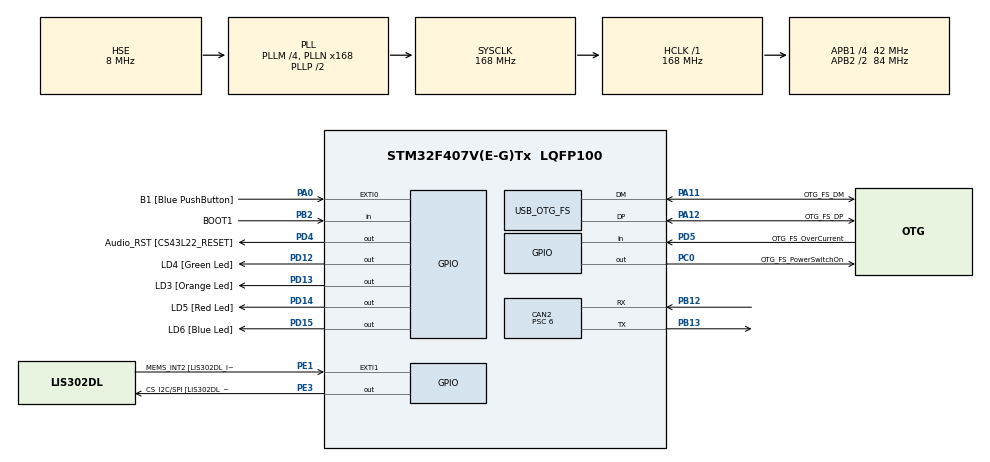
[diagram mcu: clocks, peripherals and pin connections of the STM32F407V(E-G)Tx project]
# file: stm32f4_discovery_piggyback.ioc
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CAN2.BS1=CAN_BS1_4TQ
CAN2.BS2=CAN_BS2_2TQ
CAN2.CalculateBaudRate=1000000
CAN2.CalculateTimeBit=999.99
CAN2.CalculateTimeQuantum=142.85714285714286
CAN2.NART=ENABLE
CAN2.Prescaler=6
FREERTOS.Tasks01=defaultTask,24,128,StartDefaultTask,Default,NULL,Dynamic,NULL,NULL
FREERTOS.configUSE_NEWLIB_REENTRANT=1
Mcu.Family=STM32F4
Mcu.Name=STM32F407V(E-G)Tx
Mcu.Package=LQFP100
NVIC.CAN2_RX0_IRQn=true\:5\:0\:false\:false\:true\:true\:true\:true
NVIC.CAN2_RX1_IRQn=true\:5\:0\:false\:false\:true\:true\:true\:true
NVIC.CAN2_SCE_IRQn=true\:5\:0\:false\:false\:true\:true\:true\:true
NVIC.CAN2_TX_IRQn=true\:5\:0\:false\:false\:true\:true\:true\:true
NVIC.OTG_FS_IRQn=true\:5\:0\:false\:false\:true\:true\:false\:true
NVIC.PriorityGroup=NVIC_PRIORITYGROUP_4
NVIC.TIM1_UP_TIM10_IRQn=true\:15\:0\:false\:false\:true\:false\:false\:true
NVIC.TimeBase=TIM1_UP_TIM10_IRQn
NVIC.TimeBaseIP=TIM1
PA0-WKUP.GPIO_Label=B1 [Blue PushButton]
PA0-WKUP.Signal=GPXTI0
PA10.GPIO_Label=OTG_FS_ID
PA10.GPIO_Mode=GPIO_MODE_AF_PP
PA10.GPIO_PuPd=GPIO_NOPULL
PA10.GPIO_Speed=GPIO_SPEED_FREQ_LOW
PA10.Signal=USB_OTG_FS_ID
PA11.GPIO_Label=OTG_FS_DM
PA11.GPIO_Mode=GPIO_MODE_AF_PP
PA11.GPIO_PuPd=GPIO_NOPULL
PA11.GPIO_Speed=GPIO_SPEED_FREQ_LOW
PA11.Mode=Device_Only
PA11.Signal=USB_OTG_FS_DM
PA12.GPIO_Label=OTG_FS_DP
PA12.GPIO_Mode=GPIO_MODE_AF_PP
PA12.GPIO_PuPd=GPIO_NOPULL
PA12.GPIO_Speed=GPIO_SPEED_FREQ_LOW
PA12.Mode=Device_Only
PA12.Signal=USB_OTG_FS_DP
PA13.GPIO_Label=SWDIO
PA13.Mode=Serial_Wire
PA13.Signal=SYS_JTMS-SWDIO
PA14.GPIO_Label=SWCLK
PA14.Mode=Serial_Wire
PA14.Signal=SYS_JTCK-SWCLK
PA4.GPIO_Label=I2S3_WS [CS43L22_LRCK]
PA4.GPIO_Mode=GPIO_MODE_AF_PP
PA4.GPIO_PuPd=GPIO_NOPULL
PA4.GPIO_Speed=GPIO_SPEED_FREQ_LOW
PA4.Signal=I2S3_WS
PA5.GPIO_Label=SPI1_SCK [LIS302DL_SCL/SPC]
PA5.GPIO_Mode=GPIO_MODE_AF_PP
PA5.GPIO_PuPd=GPIO_NOPULL
PA5.GPIO_Speed=GPIO_SPEED_FREQ_LOW
PA5.Signal=SPI1_SCK
PA6.GPIO_Label=SPI1_MISO [LIS302DL_SDO]
PA6.GPIO_Mode=GPIO_MODE_AF_PP
PA6.GPIO_PuPd=GPIO_NOPULL
PA6.GPIO_Speed=GPIO_SPEED_FREQ_LOW
PA6.Signal=SPI1_MISO
PA7.GPIO_Label=SPI1_MOSI [LIS302DL_SDA/SDI/SDO]
PA7.GPIO_Mode=GPIO_MODE_AF_PP
PA7.GPIO_PuPd=GPIO_NOPULL
PA7.GPIO_Speed=GPIO_SPEED_FREQ_LOW
PA7.Signal=SPI1_MOSI
PA9.GPIO_Label=VBUS_FS
PA9.GPIO_Mode=GPIO_MODE_INPUT
PA9.GPIO_PuPd=GPIO_NOPULL
PA9.Signal=USB_OTG_FS_VBUS
PB10.GPIO_Label=CLK_IN [MP45DT02_CLK]
PB10.GPIO_Mode=GPIO_MODE_AF_PP
PB10.GPIO_PuPd=GPIO_NOPULL
PB10.GPIO_Speed=GPIO_SPEED_FREQ_LOW
PB10.Signal=I2S2_CK
PB12.Mode=CAN_Activate
PB12.Signal=CAN2_RX
PB13.Mode=CAN_Activate
PB13.Signal=CAN2_TX
PB2.GPIO_Label=BOOT1
PB2.GPIO_Mode=GPIO_MODE_INPUT
PB2.GPIO_PuPd=GPIO_NOPULL
PB2.Signal=GPIO_Input
PB3.GPIO_Label=SWO
PB3.Signal=SYS_JTDO-SWO
PB6.GPIO_Label=Audio_SCL [CS43L22_SCL]
PB6.GPIO_Mode=GPIO_MODE_AF_OD
PB6.GPIO_PuPd=GPIO_NOPULL
PB6.GPIO_Speed=GPIO_SPEED_FREQ_LOW
PB6.Signal=I2C1_SCL
PB9.GPIO_Label=Audio_SDA [CS43L22_SDA]
PB9.GPIO_Mode=GPIO_MODE_AF_OD
PB9.GPIO_PuPd=GPIO_NOPULL
PB9.GPIO_Speed=GPIO_SPEED_FREQ_LOW
PB9.Signal=I2C1_SDA
PC0.GPIO_Label=OTG_FS_PowerSwitchOn
PC0.GPIO_PuPd=GPIO_NOPULL
PC0.GPIO_Speed=GPIO_SPEED_FREQ_LOW
PC0.PinState=GPIO_PIN_SET
PC0.Signal=GPIO_Output
PC10.GPIO_Label=I2S3_SCK [CS43L22_SCLK]
PC10.GPIO_Mode=GPIO_MODE_AF_PP
PC10.GPIO_PuPd=GPIO_NOPULL
PC10.GPIO_Speed=GPIO_SPEED_FREQ_LOW
PC10.Signal=I2S3_CK
PC12.GPIO_Label=I2S3_SD [CS43L22_SDIN]
PC12.GPIO_Mode=GPIO_MODE_AF_PP
PC12.GPIO_PuPd=GPIO_NOPULL
PC12.GPIO_Speed=GPIO_SPEED_FREQ_LOW
PC12.Signal=I2S3_SD
PC14-OSC32_IN.GPIO_Label=PC14-OSC32_IN
PC14-OSC32_IN.Signal=RCC_OSC32_IN
PC15-OSC32_OUT.GPIO_Label=PC15-OSC32_OUT
PC15-OSC32_OUT.Signal=RCC_OSC32_OUT
PC3.GPIO_Label=PDM_OUT [MP45DT02_DOUT]
PC3.GPIO_Mode=GPIO_MODE_AF_PP
PC3.GPIO_PuPd=GPIO_NOPULL
PC3.GPIO_Speed=GPIO_SPEED_FREQ_LOW
PC3.Signal=I2S2_SD
PC7.GPIO_Label=I2S3_MCK [CS43L22_MCLK]
PC7.GPIO_Mode=GPIO_MODE_AF_PP
PC7.GPIO_PuPd=GPIO_NOPULL
PC7.GPIO_Speed=GPIO_SPEED_FREQ_LOW
PC7.Signal=I2S3_MCK
PD12.GPIO_Label=LD4 [Green Led]
PD12.GPIO_PuPd=GPIO_NOPULL
PD12.GPIO_Speed=GPIO_SPEED_FREQ_LOW
PD12.Signal=GPIO_Output
PD13.GPIO_Label=LD3 [Orange Led]
PD13.GPIO_PuPd=GPIO_NOPULL
PD13.GPIO_Speed=GPIO_SPEED_FREQ_LOW
PD13.Signal=GPIO_Output
PD14.GPIO_Label=LD5 [Red Led]
PD14.GPIO_PuPd=GPIO_NOPULL
PD14.GPIO_Speed=GPIO_SPEED_FREQ_LOW
PD14.Signal=GPIO_Output
PD15.GPIO_Label=LD6 [Blue Led]
PD15.GPIO_PuPd=GPIO_NOPULL
PD15.GPIO_Speed=GPIO_SPEED_FREQ_LOW
PD15.Signal=GPIO_Output
PD4.GPIO_Label=Audio_RST [CS43L22_RESET]
PD4.GPIO_PuPd=GPIO_NOPULL
PD4.GPIO_Speed=GPIO_SPEED_FREQ_LOW
PD4.Signal=GPIO_Output
PD5.GPIO_Label=OTG_FS_OverCurrent
PD5.GPIO_Mode=GPIO_MODE_INPUT
PD5.GPIO_PuPd=GPIO_NOPULL
PD5.Signal=GPIO_Input
PE1.GPIO_Label=MEMS_INT2 [LIS302DL_INT2]
PE1.GPIO_ModeDefaultEXTI=GPIO_MODE_EVT_RISING
PE1.GPIO_PuPd=GPIO_NOPULL
PE1.Signal=GPXTI1
PE3.GPIO_Label=CS_I2C/SPI [LIS302DL_CS_I2C/SPI]
PE3.GPIO_PuPd=GPIO_NOPULL
PE3.GPIO_Speed=GPIO_SPEED_FREQ_LOW
PE3.Signal=GPIO_Output
PH0-OSC_IN.GPIO_Label=PH0-OSC_IN
PH0-OSC_IN.Mode=HSE-External-Oscillator
PH0-OSC_IN.Signal=RCC_OSC_IN
PH1-OSC_OUT.GPIO_Label=PH1-OSC_OUT
PH1-OSC_OUT.Mode=HSE-External-Oscillator
PH1-OSC_OUT.Signal=RCC_OSC_OUT
ProjectManager.HeapSize=0x200
ProjectManager.StackSize=0x400
ProjectManager.TargetToolchain=STM32CubeIDE
RCC.48MHZClocksFreq_Value=48000000
RCC.AHBFreq_Value=168000000
RCC.APB1CLKDivider=RCC_HCLK_DIV4
RCC.APB1Freq_Value=42000000
RCC.APB1TimFreq_Value=84000000
RCC.APB2CLKDivider=RCC_HCLK_DIV2
RCC.APB2Freq_Value=84000000
RCC.APB2TimFreq_Value=168000000
RCC.CortexFreq_Value=168000000
RCC.HCLKFreq_Value=168000000
RCC.HSE_VALUE=8000000
RCC.HSI_VALUE=16000000
RCC.LSE_VALUE=32768
RCC.PLLM=4
RCC.PLLN=168
RCC.PLLQ=7
RCC.SYSCLKFreq_VALUE=168000000
RCC.SYSCLKSource=RCC_SYSCLKSOURCE_PLLCLK
RCC.VCOOutputFreq_Value=336000000
USB_DEVICE.CLASS_NAME_FS=CDC
USB_DEVICE.VirtualMode-CDC_FS=Cdc
USB_DEVICE.VirtualModeFS=Cdc_FS
USB_OTG_FS.VirtualMode=Device_Only
VP_FREERTOS_VS_CMSIS_V2.Mode=CMSIS_V2
VP_SYS_VS_tim1.Mode=TIM1
VP_USB_DEVICE_VS_USB_DEVICE_CDC_FS.Mode=CDC_FS
board=STM32F407G-DISC1

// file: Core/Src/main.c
/* USER CODE BEGIN Header */
/**
  ******************************************************************************
  * @file           : main.c
  * @brief          : Main program body
  ******************************************************************************
  * @attention
  *
  * <h2><center>&copy; Copyright (c) 2021 STMicroelectronics.
  * All rights reserved.</center></h2>
  *
  * This software component is licensed by ST under BSD 3-Clause license,
  * the "License"; You may not use this file except in compliance with the
  * License. You may obtain a copy of the License at:
  *                        opensource.org/licenses/BSD-3-Clause
  *
  ******************************************************************************
  */
/* USER CODE END Header */
#include "main.h"
#include "cmsis_os.h"
#include "usb_device.h"
#include "usb_device.h"

/* USER CODE BEGIN Includes */
#include "can.h"
/* USER CODE END Includes */

CAN_HandleTypeDef hcan2;

/* Definitions for defaultTask */
osThreadId_t defaultTaskHandle;
const osThreadAttr_t defaultTask_attributes = {
  .name = "defaultTask",
  .stack_size = 128 * 4,
  .priority = (osPriority_t) osPriorityNormal,
};

void SystemClock_Config(void);
static void MX_GPIO_Init(void);
static void MX_CAN2_Init(void);
void StartDefaultTask(void *argument);

int main(void)
{

  /* MCU Configuration--------------------------------------------------------*/

  /* Reset of all peripherals, Initializes the Flash interface and the Systick. */
  HAL_Init();

  /* Configure the system clock */
  SystemClock_Config();

  /* Initialize all configured peripherals */
  MX_GPIO_Init();
  MX_CAN2_Init();

  /* Init scheduler */
  osKernelInitialize();

  /* Create the thread(s) */
  /* creation of defaultTask */
  defaultTaskHandle = osThreadNew(StartDefaultTask, NULL, &defaultTask_attributes);

  /* Start scheduler */
  osKernelStart();

  /* We should never get here as control is now taken by the scheduler */
  /* Infinite loop */
  while (1)
  {

  }
}

void SystemClock_Config(void)
{
  RCC_OscInitTypeDef RCC_OscInitStruct = {0};
  RCC_ClkInitTypeDef RCC_ClkInitStruct = {0};

  /** Configure the main internal regulator output voltage
  */
  __HAL_RCC_PWR_CLK_ENABLE();
  __HAL_PWR_VOLTAGESCALING_CONFIG(PWR_REGULATOR_VOLTAGE_SCALE1);
  /** Initializes the RCC Oscillators according to the specified parameters
  * in the RCC_OscInitTypeDef structure.
  */
  RCC_OscInitStruct.OscillatorType = RCC_OSCILLATORTYPE_HSE;
  RCC_OscInitStruct.HSEState = RCC_HSE_ON;
  RCC_OscInitStruct.PLL.PLLState = RCC_PLL_ON;
  RCC_OscInitStruct.PLL.PLLSource = RCC_PLLSOURCE_HSE;
  RCC_OscInitStruct.PLL.PLLM = 4;
  RCC_OscInitStruct.PLL.PLLN = 168;
  RCC_OscInitStruct.PLL.PLLP = RCC_PLLP_DIV2;
  RCC_OscInitStruct.PLL.PLLQ = 7;
  if (HAL_RCC_OscConfig(&RCC_OscInitStruct) != HAL_OK)
  {
    Error_Handler();
  }
  /** Initializes the CPU, AHB and APB buses clocks
  */
  RCC_ClkInitStruct.ClockType = RCC_CLOCKTYPE_HCLK|RCC_CLOCKTYPE_SYSCLK
                              |RCC_CLOCKTYPE_PCLK1|RCC_CLOCKTYPE_PCLK2;
  RCC_ClkInitStruct.SYSCLKSource = RCC_SYSCLKSOURCE_PLLCLK;
  RCC_ClkInitStruct.AHBCLKDivider = RCC_SYSCLK_DIV1;
  RCC_ClkInitStruct.APB1CLKDivider = RCC_HCLK_DIV4;
  RCC_ClkInitStruct.APB2CLKDivider = RCC_HCLK_DIV2;

  if (HAL_RCC_ClockConfig(&RCC_ClkInitStruct, FLASH_LATENCY_5) != HAL_OK)
  {
    Error_Handler();
  }
}

static void MX_CAN2_Init(void)
{

  hcan2.Instance = CAN2;
  hcan2.Init.Prescaler = 6;
  hcan2.Init.Mode = CAN_MODE_NORMAL;
  hcan2.Init.SyncJumpWidth = CAN_SJW_1TQ;
  hcan2.Init.TimeSeg1 = CAN_BS1_4TQ;
  hcan2.Init.TimeSeg2 = CAN_BS2_2TQ;
  hcan2.Init.TimeTriggeredMode = DISABLE;
  hcan2.Init.AutoBusOff = DISABLE;
  hcan2.Init.AutoWakeUp = DISABLE;
  hcan2.Init.AutoRetransmission = ENABLE;
  hcan2.Init.ReceiveFifoLocked = DISABLE;
  hcan2.Init.TransmitFifoPriority = DISABLE;
  if (HAL_CAN_Init(&hcan2) != HAL_OK)
  {
    Error_Handler();
  }

}

static void MX_GPIO_Init(void)
{
  GPIO_InitTypeDef GPIO_InitStruct = {0};

  /* GPIO Ports Clock Enable */
  __HAL_RCC_GPIOE_CLK_ENABLE();
  __HAL_RCC_GPIOC_CLK_ENABLE();
  __HAL_RCC_GPIOH_CLK_ENABLE();
  __HAL_RCC_GPIOA_CLK_ENABLE();
  __HAL_RCC_GPIOB_CLK_ENABLE();
  __HAL_RCC_GPIOD_CLK_ENABLE();

  /*Configure GPIO pin Output Level */
  HAL_GPIO_WritePin(CS_I2C_SPI_GPIO_Port, CS_I2C_SPI_Pin, GPIO_PIN_RESET);

  /*Configure GPIO pin Output Level */
  HAL_GPIO_WritePin(OTG_FS_PowerSwitchOn_GPIO_Port, OTG_FS_PowerSwitchOn_Pin, GPIO_PIN_SET);

  /*Configure GPIO pin Output Level */
  HAL_GPIO_WritePin(GPIOD, LD4_Pin|LD3_Pin|LD5_Pin|LD6_Pin
                          |Audio_RST_Pin, GPIO_PIN_RESET);

  /*Configure GPIO pin : CS_I2C_SPI_Pin */
  GPIO_InitStruct.Pin = CS_I2C_SPI_Pin;
  GPIO_InitStruct.Mode = GPIO_MODE_OUTPUT_PP;
  GPIO_InitStruct.Pull = GPIO_NOPULL;
  GPIO_InitStruct.Speed = GPIO_SPEED_FREQ_LOW;
  HAL_GPIO_Init(CS_I2C_SPI_GPIO_Port, &GPIO_InitStruct);

  /*Configure GPIO pin : OTG_FS_PowerSwitchOn_Pin */
  GPIO_InitStruct.Pin = OTG_FS_PowerSwitchOn_Pin;
  GPIO_InitStruct.Mode = GPIO_MODE_OUTPUT_PP;
  GPIO_InitStruct.Pull = GPIO_NOPULL;
  GPIO_InitStruct.Speed = GPIO_SPEED_FREQ_LOW;
  HAL_GPIO_Init(OTG_FS_PowerSwitchOn_GPIO_Port, &GPIO_InitStruct);

  /*Configure GPIO pin : PDM_OUT_Pin */
  GPIO_InitStruct.Pin = PDM_OUT_Pin;
  GPIO_InitStruct.Mode = GPIO_MODE_AF_PP;
  GPIO_InitStruct.Pull = GPIO_NOPULL;
  GPIO_InitStruct.Speed = GPIO_SPEED_FREQ_LOW;
  GPIO_InitStruct.Alternate = GPIO_AF5_SPI2;
  HAL_GPIO_Init(PDM_OUT_GPIO_Port, &GPIO_InitStruct);

  /*Configure GPIO pin : B1_Pin */
  GPIO_InitStruct.Pin = B1_Pin;
  GPIO_InitStruct.Mode = GPIO_MODE_IT_RISING;
  GPIO_InitStruct.Pull = GPIO_NOPULL;
  HAL_GPIO_Init(B1_GPIO_Port, &GPIO_InitStruct);

  /*Configure GPIO pin : I2S3_WS_Pin */
  GPIO_InitStruct.Pin = I2S3_WS_Pin;
  GPIO_InitStruct.Mode = GPIO_MODE_AF_PP;
  GPIO_InitStruct.Pull = GPIO_NOPULL;
  GPIO_InitStruct.Speed = GPIO_SPEED_FREQ_LOW;
  GPIO_InitStruct.Alternate = GPIO_AF6_SPI3;
  HAL_GPIO_Init(I2S3_WS_GPIO_Port, &GPIO_InitStruct);

  /*Configure GPIO pins : SPI1_SCK_Pin SPI1_MISO_Pin SPI1_MOSI_Pin */
  GPIO_InitStruct.Pin = SPI1_SCK_Pin|SPI1_MISO_Pin|SPI1_MOSI_Pin;
  GPIO_InitStruct.Mode = GPIO_MODE_AF_PP;
  GPIO_InitStruct.Pull = GPIO_NOPULL;
  GPIO_InitStruct.Speed = GPIO_SPEED_FREQ_LOW;
  GPIO_InitStruct.Alternate = GPIO_AF5_SPI1;
  HAL_GPIO_Init(GPIOA, &GPIO_InitStruct);

  /*Configure GPIO pin : BOOT1_Pin */
  GPIO_InitStruct.Pin = BOOT1_Pin;
  GPIO_InitStruct.Mode = GPIO_MODE_INPUT;
  GPIO_InitStruct.Pull = GPIO_NOPULL;
  HAL_GPIO_Init(BOOT1_GPIO_Port, &GPIO_InitStruct);

  /*Configure GPIO pin : CLK_IN_Pin */
  GPIO_InitStruct.Pin = CLK_IN_Pin;
  GPIO_InitStruct.Mode = GPIO_MODE_AF_PP;
  GPIO_InitStruct.Pull = GPIO_NOPULL;
  GPIO_InitStruct.Speed = GPIO_SPEED_FREQ_LOW;
  GPIO_InitStruct.Alternate = GPIO_AF5_SPI2;
  HAL_GPIO_Init(CLK_IN_GPIO_Port, &GPIO_InitStruct);

  /*Configure GPIO pins : LD4_Pin LD3_Pin LD5_Pin LD6_Pin
                           Audio_RST_Pin */
  GPIO_InitStruct.Pin = LD4_Pin|LD3_Pin|LD5_Pin|LD6_Pin
                          |Audio_RST_Pin;
  GPIO_InitStruct.Mode = GPIO_MODE_OUTPUT_PP;
  GPIO_InitStruct.Pull = GPIO_NOPULL;
  GPIO_InitStruct.Speed = GPIO_SPEED_FREQ_LOW;
  HAL_GPIO_Init(GPIOD, &GPIO_InitStruct);

  /*Configure GPIO pins : I2S3_MCK_Pin I2S3_SCK_Pin I2S3_SD_Pin */
  GPIO_InitStruct.Pin = I2S3_MCK_Pin|I2S3_SCK_Pin|I2S3_SD_Pin;
  GPIO_InitStruct.Mode = GPIO_MODE_AF_PP;
  GPIO_InitStruct.Pull = GPIO_NOPULL;
  GPIO_InitStruct.Speed = GPIO_SPEED_FREQ_LOW;
  GPIO_InitStruct.Alternate = GPIO_AF6_SPI3;
  HAL_GPIO_Init(GPIOC, &GPIO_InitStruct);

  /*Configure GPIO pin : OTG_FS_OverCurrent_Pin */
  GPIO_InitStruct.Pin = OTG_FS_OverCurrent_Pin;
  GPIO_InitStruct.Mode = GPIO_MODE_INPUT;
  GPIO_InitStruct.Pull = GPIO_NOPULL;
  HAL_GPIO_Init(OTG_FS_OverCurrent_GPIO_Port, &GPIO_InitStruct);

  /*Configure GPIO pins : Audio_SCL_Pin Audio_SDA_Pin */
  GPIO_InitStruct.Pin = Audio_SCL_Pin|Audio_SDA_Pin;
  GPIO_InitStruct.Mode = GPIO_MODE_AF_OD;
  GPIO_InitStruct.Pull = GPIO_NOPULL;
  GPIO_InitStruct.Speed = GPIO_SPEED_FREQ_LOW;
  GPIO_InitStruct.Alternate = GPIO_AF4_I2C1;
  HAL_GPIO_Init(GPIOB, &GPIO_InitStruct);

  /*Configure GPIO pin : MEMS_INT2_Pin */
  GPIO_InitStruct.Pin = MEMS_INT2_Pin;
  GPIO_InitStruct.Mode = GPIO_MODE_EVT_RISING;
  GPIO_InitStruct.Pull = GPIO_NOPULL;
  HAL_GPIO_Init(MEMS_INT2_GPIO_Port, &GPIO_InitStruct);

}

void StartDefaultTask(void *argument)
{
  /* init code for USB_DEVICE */
  MX_USB_DEVICE_Init();
  /* USER CODE BEGIN 5 */

  CAN_Init(&hcan2);

  Can_Frame can_frame_tx;
  can_frame_tx.id = 0x123;
  can_frame_tx.length = 8;

  for (int i  = 0; i < can_frame_tx.length; i++)
    {
      can_frame_tx.data[i] = i;
    }

  Can_Frame can_frame_rx;
  uint32_t rx_cnt = 0, tx_cnt = 0, tx_error_cnt = 0;

  /* Infinite loop */
  for(;;)
  {
    osDelay(100);
    if (HAL_OK == CAN_Receive(&hcan2, &can_frame_rx))
      {
	/*Received something*/
	rx_cnt++;
      }
    if (HAL_OK == CAN_Send(&hcan2, &can_frame_tx))
      {
	/*Successfully posted to tx fifo buffer*/
	tx_cnt++;
      }
    else
      {
	/* Fifo buffer full, is there a receiving CAN node?*/
	tx_error_cnt++;
      }
  }
  /* USER CODE END 5 */
}

void HAL_TIM_PeriodElapsedCallback(TIM_HandleTypeDef *htim)
{
  if (htim->Instance == TIM1) {
    HAL_IncTick();
  }
}

void Error_Handler(void)
{
  __disable_irq();
  while (1)
  {
  }
}

/************************ (C) COPYRIGHT STMicroelectronics *****END OF FILE****/
